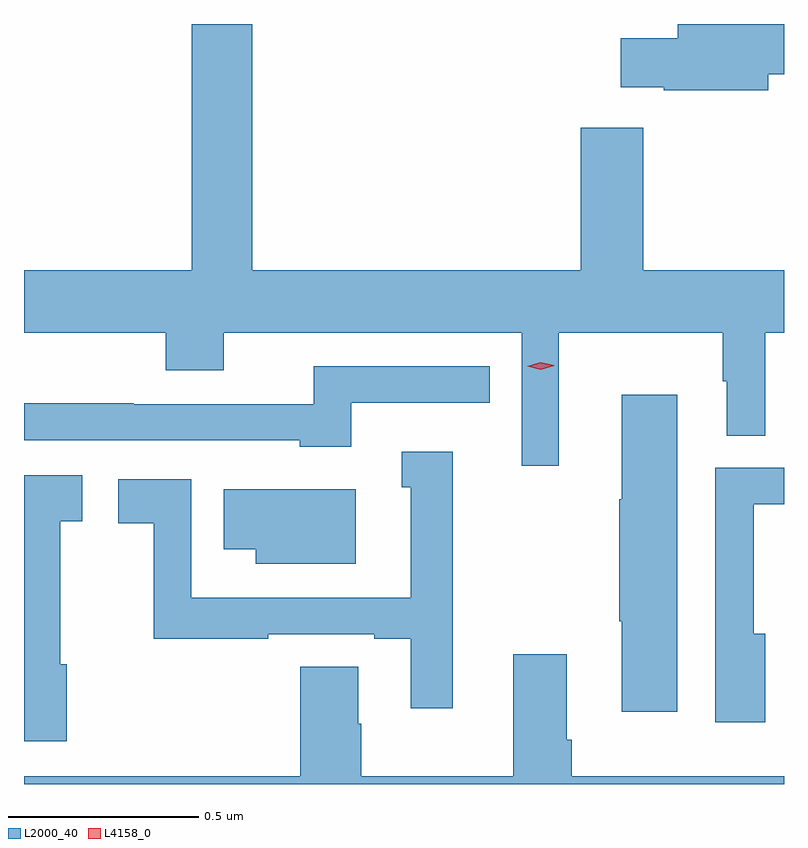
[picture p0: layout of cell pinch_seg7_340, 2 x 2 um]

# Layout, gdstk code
import gdstk
lib = gdstk.Library(unit=1e-6, precision=1e-09)
def P(c, l, *ps):  # polygons
    for p in ps: c.add(gdstk.Polygon(p, *l))
L2000_40 = (2000, 40)
L4158_0 = (4158, 0)

pinch_seg7_340 = lib.new_cell('pinch_seg7_340')
P(pinch_seg7_340, L2000_40, [(428.686,1052.564),(429.118,1052.564),(429.118,1052.436),(429.128,1052.436),(429.128,1052.293),(429.229,1052.293),(429.229,1052.564),(429.279,1052.564),(429.279,1052.728),(428.908,1052.728),(428.908,1053.103),(428.744,1053.103),(428.744,1052.728),(427.88,1052.728),(427.88,1053.376),(427.72,1053.376),(427.72,1052.728),(427.279,1052.728),(427.279,1052.564),(427.652,1052.564),(427.652,1052.465),(427.804,1052.465),(427.804,1052.564),(428.589,1052.564),(428.589,1052.214),(428.686,1052.214)],
  [(429.238,1053.244),(429.279,1053.244),(429.279,1053.376),(428.999,1053.376),(428.999,1053.339),(428.85,1053.339),(428.85,1053.209),(428.962,1053.209),(428.962,1053.202),(429.238,1053.202)],
  [(428.14,1052.379),(428.504,1052.379),(428.504,1052.475),(428.041,1052.475),(428.041,1052.376),(427.568,1052.376),(427.568,1052.378),(427.279,1052.378),(427.279,1052.28),(428.004,1052.28),(428.004,1052.264),(428.14,1052.264)],
  [(428.998,1052.401),(428.852,1052.401),(428.852,1052.126),(428.845,1052.126),(428.845,1051.804),(428.852,1051.804),(428.852,1051.566),(428.998,1051.566)],
  [(428.407,1052.251),(428.273,1052.251),(428.273,1052.157),(428.297,1052.157),(428.297,1051.866),(427.719,1051.866),(427.719,1052.178),(427.527,1052.178),(427.527,1052.062),(427.621,1052.062),(427.621,1051.758),(427.922,1051.758),(427.922,1051.77),(428.201,1051.77),(428.201,1051.758),(428.297,1051.758),(428.297,1051.575),(428.407,1051.575)],
  [(429.229,1051.771),(429.199,1051.771),(429.199,1052.112),(429.279,1052.112),(429.279,1052.208),(429.098,1052.208),(429.098,1051.539),(429.229,1051.539)],
  [(427.391,1051.691),(427.374,1051.691),(427.374,1052.067),(427.432,1052.067),(427.432,1052.188),(427.279,1052.188),(427.279,1051.488),(427.391,1051.488)],
  [(428.152,1052.152),(427.804,1052.152),(427.804,1051.994),(427.889,1051.994),(427.889,1051.955),(428.152,1051.955)],
  [(429.279,1051.396),(428.72,1051.396),(428.72,1051.492),(428.707,1051.492),(428.707,1051.717),(428.567,1051.717),(428.567,1051.396),(428.166,1051.396),(428.166,1051.535),(428.158,1051.535),(428.158,1051.685),(428.006,1051.685),(428.006,1051.396),(427.279,1051.396),(427.279,1051.376),(429.279,1051.376)])
P(pinch_seg7_340, L4158_0, [(428.639,1052.466),(428.603,1052.475),(428.603,1052.475),(428.603,1052.475),(428.638,1052.486),(428.674,1052.478),(428.674,1052.477),(428.674,1052.477)])

lib.write_gds('pinch_seg7_340.gds')
